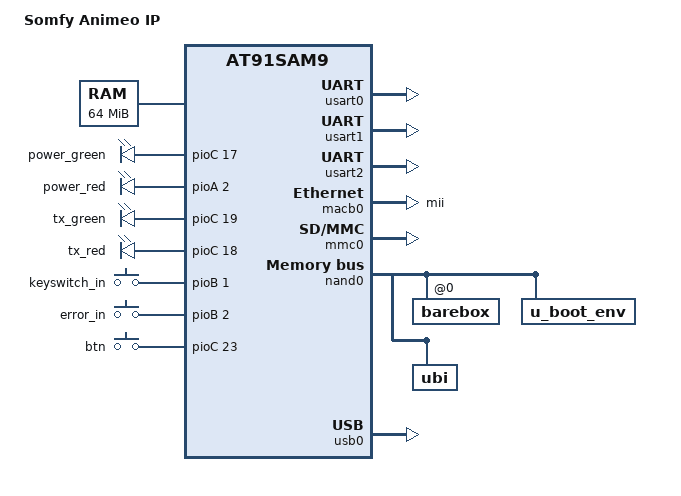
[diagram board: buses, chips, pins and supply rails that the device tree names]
/*
 * animeo_ip.dts - Device Tree file for Somfy Animeo IP Boards
 *
 *  Copyright (C) 2011-2012 Jean-Christophe PLAGNIOL-VILLARD <plagnioj@jcrosoft.com>
 *
 * Licensed under GPLv2 only.
 */

/dts-v1/;
#include "at91sam9260.dtsi"

/ {
	model = "Somfy Animeo IP";
	compatible = "somfy,animeo-ip", "atmel,at91sam9260", "atmel,at91sam9";

	aliases {
		serial0 = &usart1;
		serial1 = &usart2;
		serial2 = &usart0;
		serial3 = &dbgu;
		serial4 = &usart3;
		serial5 = &uart0;
		serial6 = &uart1;
	};

	chosen {
		linux,stdout-path = &usart2;
	};

	memory {
		reg = <0x20000000 0x4000000>;
	};

	clocks {
		#address-cells = <1>;
		#size-cells = <1>;
		ranges;

		main_clock: clock@0 {
			compatible = "atmel,osc", "fixed-clock";
			clock-frequency = <18432000>;
		};

		slow_xtal {
			clock-frequency = <32768>;
		};

		main_xtal {
			clock-frequency = <18432000>;
		};
	};

	ahb {
		apb {
			usart0: serial@fffb0000 {
				pinctrl-0 = <&pinctrl_usart0 &pinctrl_usart0_rts>;
				linux,rs485-enabled-at-boot-time;
				status = "okay";
			};

			usart1: serial@fffb4000 {
				pinctrl-0 = <&pinctrl_usart1 &pinctrl_usart1_rts>;
				linux,rs485-enabled-at-boot-time;
				status = "okay";
			};

			usart2: serial@fffb8000 {
				pinctrl-0 = <&pinctrl_usart2>;
				status = "okay";
			};

			macb0: ethernet@fffc4000 {
				pinctrl-0 = <&pinctrl_macb_rmii &pinctrl_macb_rmii_mii>;
				phy-mode = "mii";
				status = "okay";
			};

			mmc0: mmc@fffa8000 {
				pinctrl-0 = <&pinctrl_mmc0_clk
					     &pinctrl_mmc0_slot1_cmd_dat0
					     &pinctrl_mmc0_slot1_dat1_3>;
				status = "okay";

				slot@1 {
					reg = <1>;
					bus-width = <4>;
				};
			};

			watchdog@fffffd40 {
				status = "okay";
			};
		};

		nand0: nand@40000000 {
			nand-bus-width = <8>;
			nand-ecc-mode = "soft";
			nand-on-flash-bbt;
			status = "okay";

			barebox@0 {
				label = "barebox";
				reg = <0x0 0x58000>;
			};

			u_boot_env@58000 {
				label = "u_boot_env";
				reg = <0x58000 0x8000>;
			};

			ubi@60000 {
				label = "ubi";
				reg = <0x60000 0x1FA0000>;
			};
		};

		usb0: ohci@00500000 {
			num-ports = <2>;
			atmel,vbus-gpio = <&pioB 15 GPIO_ACTIVE_LOW>;
			status = "okay";
		};
	};

	leds {
		compatible = "gpio-leds";

		power_green {
			label = "power_green";
			gpios = <&pioC 17 GPIO_ACTIVE_HIGH>;
			linux,default-trigger = "heartbeat";
		};

		power_red {
			label = "power_red";
			gpios = <&pioA 2 GPIO_ACTIVE_HIGH>;
		};

		tx_green {
			label = "tx_green";
			gpios = <&pioC 19 GPIO_ACTIVE_HIGH>;
		};

		tx_red {
			label = "tx_red";
			gpios = <&pioC 18 GPIO_ACTIVE_HIGH>;
		};
	};

	gpio_keys {
		compatible = "gpio-keys";
		#address-cells = <1>;
		#size-cells = <0>;

		keyswitch_in {
			label = "keyswitch_in";
			gpios = <&pioB 1 GPIO_ACTIVE_HIGH>;
			linux,code = <28>;
			wakeup-source;
		};

		error_in {
			label = "error_in";
			gpios = <&pioB 2 GPIO_ACTIVE_HIGH>;
			linux,code = <29>;
			wakeup-source;
		};

		btn {
			label = "btn";
			gpios = <&pioC 23 GPIO_ACTIVE_HIGH>;
			linux,code = <31>;
			wakeup-source;
		};
	};
};
